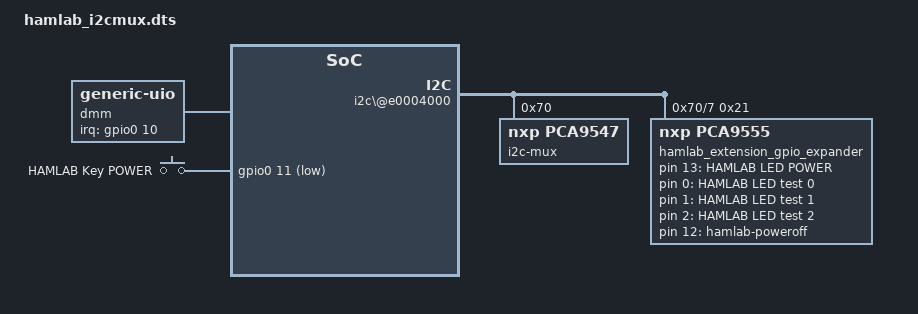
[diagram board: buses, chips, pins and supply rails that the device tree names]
/dts-v1/;
/plugin/;
/{		
	fragment@70 {
		target-path = "/amba/i2c\@e0004000";
		__overlay__ {
			i2c-mux@70 {
				compatible = "nxp,pca9547";
				#address-cells = <1>;
				#size-cells = <0>;
				reg = <0x70>;
				status="okay";
				i2c@0 {
					#address-cells = <1>;
					#size-cells = <0>;
					reg = <0>;
				};
				i2c@1 {
					#address-cells = <1>;
					#size-cells = <0>;
					reg = <1>;
				};
				i2c@2 {
					#address-cells = <1>;
					#size-cells = <0>;
					reg = <2>;
				};
				i2c@3 {
					#address-cells = <1>;
					#size-cells = <0>;
					reg = <3>;
				};
				i2c@4 {
					#address-cells = <1>;
					#size-cells = <0>;
					reg = <4>;
				};
				i2c@5 {
					#address-cells = <1>;
					#size-cells = <0>;
					reg = <5>;
				};
				i2c@6 {
					#address-cells = <1>;
					#size-cells = <0>;
					reg = <6>;
				};
				i2c@7 {
					#address-cells = <1>;
					#size-cells = <0>;
					reg = <7>;
					hamlab_extension_gpio_expander: pca9555@21 {	
						compatible = "nxp,pca9555";
						reg = <0x21>;
						gpio-controller;
						#gpio-cells = <2>;
//						interrupt-parent = <&gpio0>;
//						interrupts = <11 0x2>;
//						interrupt-controller;
//						#interrupt-cells = <2>;
					};
				};
			};
		};
	};
	
	fragment@f0 {
		target-path = "/amba";
		__overlay__ {
		// DMM data ready is mapped as UIO interrupt connected to MIO[10] (MOSI)
			dmm: dmm {
				compatible = "generic-uio";
				status = "okay";
				interrupt-parent = <&gpio0>;
				interrupts = <10 0x8>;
			};
			// Power button on MIO[11] (MISO)
			hamlab_keys {
				compatible = "gpio-keys";
				autorepeat;
				hamlab_key_power {
					label = "HAMLAB Key POWER";
					linux,code = <116>;
					gpios = <&gpio0 11 1>;
				};
			};
			hamlab_led {
				compatible = "gpio-leds";
				hamlab_led_power {
					label = "HAMLAB LED POWER";
					gpios = <&hamlab_extension_gpio_expander 13 0>;
					default-state = "on";
				};
				hamlab_led_test0 {
					label = "HAMLAB LED test 0";
					gpios = <&hamlab_extension_gpio_expander 0 0>;
					default-state = "off";
				};
				hamlab_led_test1 {
					label = "HAMLAB LED test 1";
					gpios = <&hamlab_extension_gpio_expander 1 0>;
					default-state = "off";
				};
				hamlab_led_test2 {
					label = "HAMLAB LED test 2";
					gpios = <&hamlab_extension_gpio_expander 2 0>;
					default-state = "off";
				};
			};
			// Power OFF signal, extension board GPIO expander port P16 (14=8+6)
			hamlab-poweroff {
				compatible = "gpio-poweroff";
				gpios = <&hamlab_extension_gpio_expander 12 0>;
			};
	
		};	
	};

};
